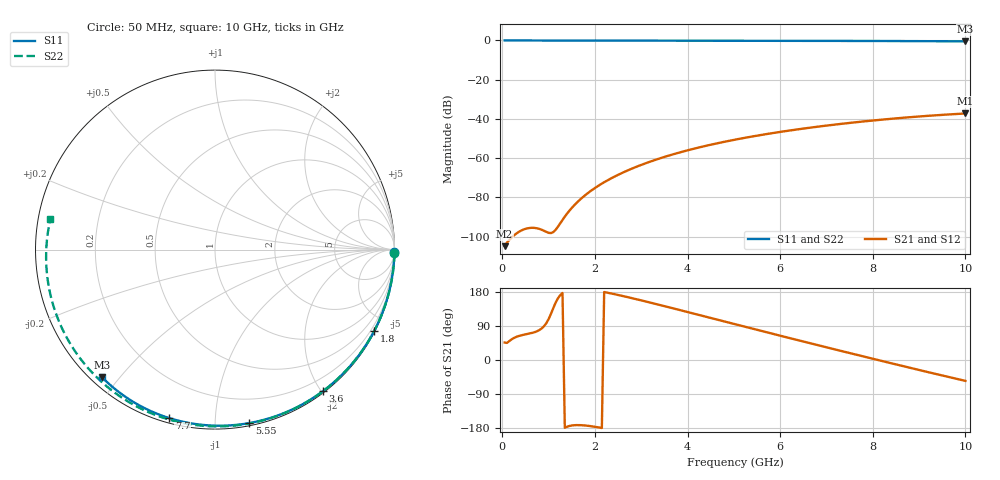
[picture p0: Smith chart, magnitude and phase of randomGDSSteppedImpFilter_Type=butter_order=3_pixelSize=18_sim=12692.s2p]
! freq	dB(S11)	phase(S11)	dB(S12)	phase(S12)
!  dB(S21)	phase(S21)	dB(S22)	phase(S22)
!S-par simulation data
#  GHz  S  DB  R 50
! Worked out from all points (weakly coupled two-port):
!   200 points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, 50 MHz to 10 GHz, reference 50 ohm
!   highest |S21| = -37.24 dB at 10 GHz (marker M1); lowest = -104.9 dB at 50 MHz (marker M2)
!   lowest |S11| = -0.5 dB at 10 GHz (marker M3), VSWR 38.53, Z = 1.56 - j22.5 ohm
!   |S11| at or under -10 dB: nowhere
!   |S22| runs from -0.6 to 0.0 dB; largest |S21 - S12| = 0
!   S11 on the Smith chart (normalised r, x): 50 MHz: open; 1.8 GHz: 0.04, -4.17; 3.6 GHz: 0.02, -2.02; 5.55 GHz: 0.02, -1.22; 7.7 GHz: 0.02, -0.76; 10 GHz: 0.03, -0.45
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0.05  -0.00 -0.8  -104.93 46.1  -104.93 46.1  -0.00 -1.1
0.45  -0.01 -6.8  -96.52 66.3  -96.52 66.3  -0.01 -9.6
0.85  -0.02 -12.9  -96.56 83.2  -96.56 83.2  -0.02 -18.0
1.25  -0.02 -18.8  -93.30 171.0  -93.30 171.0  -0.03 -26.4
1.7  -0.03 -25.5  -80.72 -172.0  -80.72 -172.0  -0.05 -35.7
1.75  -0.03 -26.3  -79.70 -172.4  -79.70 -172.4  -0.05 -36.7
1.8  -0.03 -27.0  -78.73 -172.9  -78.73 -172.9  -0.05 -37.7
2.1  -0.04 -31.4  -73.74 -178.3  -73.74 -178.3  -0.06 -43.8
2.5  -0.05 -37.2  -68.55 171.7  -68.55 171.7  -0.07 -51.9
2.9  -0.06 -42.9  -64.39 160.3  -64.39 160.3  -0.08 -59.8
3.4  -0.07 -50.0  -60.16 145.3  -60.16 145.3  -0.09 -69.5
3.6  -0.07 -52.8  -58.69 139.1  -58.69 139.1  -0.10 -73.3
4.3  -0.09 -62.4  -54.28 117.3  -54.28 117.3  -0.12 -86.4
5.05  -0.11 -72.3  -50.49 93.7  -50.49 93.7  -0.15 -100.1
5.55  -0.13 -78.8  -48.36 78.1  -48.36 78.1  -0.18 -109.0
6.1  -0.15 -85.8  -46.29 61.1  -46.29 61.1  -0.21 -118.7
6.7  -0.18 -93.2  -44.32 42.6  -44.32 42.6  -0.25 -129.2
7.7  -0.24 -105.2  -41.55 12.3  -41.55 12.3  -0.34 -146.7
8.35  -0.29 -112.8  -40.06 -7.2  -40.06 -7.2  -0.40 -158.4
9.2  -0.36 -122.6  -38.43 -32.2  -38.43 -32.2  -0.50 -174.3
9.6  -0.41 -127.1  -37.80 -43.7  -37.80 -43.7  -0.55 177.8
10  -0.45 -131.6  -37.24 -55.1  -37.24 -55.1  -0.60 169.6
